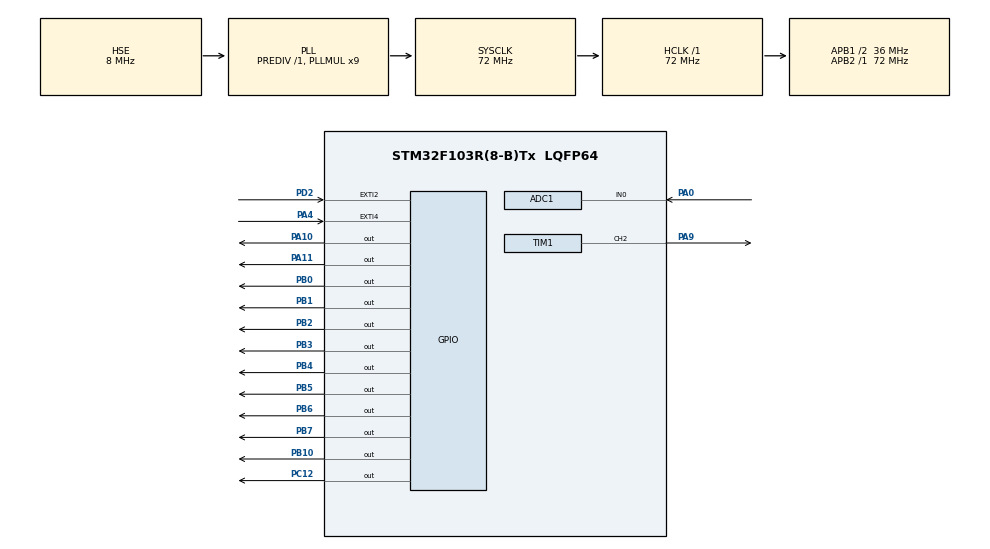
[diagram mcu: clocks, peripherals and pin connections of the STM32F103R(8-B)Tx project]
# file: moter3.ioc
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ADC1.Channel-0\#ChannelRegularConversion=ADC_CHANNEL_0
ADC1.ContinuousConvMode=ENABLE
ADC1.NbrOfConversionFlag=1
ADC1.Rank-0\#ChannelRegularConversion=1
ADC1.SamplingTime-0\#ChannelRegularConversion=ADC_SAMPLETIME_13CYCLES_5
ADC1.master=1
Mcu.Family=STM32F1
Mcu.Name=STM32F103R(8-B)Tx
Mcu.Package=LQFP64
NVIC.EXTI2_IRQn=true\:0\:0\:false\:false\:true\:true\:true\:true
NVIC.EXTI4_IRQn=true\:0\:0\:false\:false\:true\:true\:true\:true
NVIC.PriorityGroup=NVIC_PRIORITYGROUP_4
PA0-WKUP.Signal=ADCx_IN0
PA10.Signal=GPIO_Output
PA11.Signal=GPIO_Output
PA13.Mode=Serial_Wire
PA13.Signal=SYS_JTMS-SWDIO
PA14.Mode=Serial_Wire
PA14.Signal=SYS_JTCK-SWCLK
PA4.GPIO_ModeDefaultEXTI=GPIO_MODE_IT_FALLING
PA4.Signal=GPXTI4
PA9.Signal=S_TIM1_CH2
PB0.Signal=GPIO_Output
PB1.Signal=GPIO_Output
PB10.Signal=GPIO_Output
PB2.Signal=GPIO_Output
PB3.Signal=GPIO_Output
PB4.Signal=GPIO_Output
PB5.Signal=GPIO_Output
PB6.Signal=GPIO_Output
PB7.Signal=GPIO_Output
PC12.Signal=GPIO_Output
PC14-OSC32_IN.Mode=LSE-External-Oscillator
PC14-OSC32_IN.Signal=RCC_OSC32_IN
PC15-OSC32_OUT.Mode=LSE-External-Oscillator
PC15-OSC32_OUT.Signal=RCC_OSC32_OUT
PD0-OSC_IN.Mode=HSE-External-Clock-Source
PD0-OSC_IN.Signal=RCC_OSC_IN
PD1-OSC_OUT.Mode=HSE-External-Clock-Source
PD1-OSC_OUT.Signal=RCC_OSC_OUT
PD2.GPIO_ModeDefaultEXTI=GPIO_MODE_IT_FALLING
PD2.Signal=GPXTI2
ProjectManager.HeapSize=0x200
ProjectManager.StackSize=0x400
ProjectManager.TargetToolchain=STM32CubeIDE
RCC.ADCPresc=RCC_ADCPCLK2_DIV6
RCC.AHBFreq_Value=72000000
RCC.APB1CLKDivider=RCC_HCLK_DIV2
RCC.APB1Freq_Value=36000000
RCC.APB1TimFreq_Value=72000000
RCC.APB2Freq_Value=72000000
RCC.APB2TimFreq_Value=72000000
RCC.HCLKFreq_Value=72000000
RCC.PLLMUL=RCC_PLL_MUL9
RCC.PLLSourceVirtual=RCC_PLLSOURCE_HSE
RCC.SYSCLKFreq_VALUE=72000000
RCC.SYSCLKSource=RCC_SYSCLKSOURCE_PLLCLK
RCC.USBFreq_Value=72000000
SH.ADCx_IN0.0=ADC1_IN0,IN0
SH.S_TIM1_CH2.0=TIM1_CH2,PWM Generation2 CH2
TIM1.AutoReloadPreload=TIM_AUTORELOAD_PRELOAD_ENABLE
TIM1.Channel-PWM\ Generation2\ CH2=TIM_CHANNEL_2
TIM1.Period=1000-1
TIM1.Prescaler=72-1
VP_TIM1_VS_ClockSourceINT.Mode=Internal
board=custom

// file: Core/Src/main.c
/* USER CODE BEGIN Header */
/**
  ******************************************************************************
  * @file           : main.c
  * @brief          : Main program body
  ******************************************************************************
  * @attention
  *
  * Copyright (c) 2023 STMicroelectronics.
  * All rights reserved.
  *
  * This software is licensed under terms that can be found in the LICENSE file
  * in the root directory of this software component.
  * If no LICENSE file comes with this software, it is provided AS-IS.
  *
  ******************************************************************************
  */
/* USER CODE END Header */
#include "main.h"

/* USER CODE BEGIN PD */
#define SW_CW 1
#define SW_CCW 2
#define STOP 0
/* USER CODE END PD */

ADC_HandleTypeDef hadc1;

TIM_HandleTypeDef htim1;

/* USER CODE BEGIN PV */
uint8_t number[] = {0x3f, 0x06, 0x5b, 0x4f, 0x66,
        0x6d, 0x7d, 0x07, 0x7f, 0x67};
uint16_t motor_ccr2;
uint16_t adc_value;
uint8_t motor_state = STOP;
uint8_t CW_COUNTER;
uint8_t CCW_COUNTER;

/* USER CODE END PV */

void SystemClock_Config(void);
static void MX_GPIO_Init(void);
static void MX_ADC1_Init(void);
static void MX_TIM1_Init(void);

/* USER CODE BEGIN 0 */
typedef struct fnd { 	// 구조체
  GPIO_TypeDef *port;
  uint16_t pin;
} FND;
FND value[8] = {
  {GPIOB, GPIO_PIN_0}, {GPIOB, GPIO_PIN_1},
  {GPIOB, GPIO_PIN_2}, {GPIOB, GPIO_PIN_3},
  {GPIOB, GPIO_PIN_4}, {GPIOB, GPIO_PIN_5},
  {GPIOB, GPIO_PIN_6}, {GPIOB, GPIO_PIN_7}
};
FND sel[4] = {
  {GPIOA, GPIO_PIN_10}, {GPIOA, GPIO_PIN_11},
  {GPIOC, GPIO_PIN_4}, {GPIOC, GPIO_PIN_3}
};
void display_fnd(uint8_t data, uint8_t position, uint32_t time) {  // 함수
	  int i;
	  for (i = 0; i < 4; i++) {
	    if(i == position)
	      HAL_GPIO_WritePin(sel[i].port, sel[i].pin, 1);
	    else
	      HAL_GPIO_WritePin(sel[i].port, sel[i].pin, 0);
	  }
	  for(i = 0; i < 8; i++) {
	    if((data & (1 << i)) != 0)
	      HAL_GPIO_WritePin(value[i].port, value[i].pin, 1);
	    else
	      HAL_GPIO_WritePin(value[i].port, value[i].pin, 0);
	  }
	  HAL_Delay(time);
	}

/* USER CODE END 0 */

int main(void)
{

  /* MCU Configuration--------------------------------------------------------*/

  /* Reset of all peripherals, Initializes the Flash interface and the Systick. */
  HAL_Init();

  /* Configure the system clock */
  SystemClock_Config();

  /* Initialize all configured peripherals */
  MX_GPIO_Init();
  MX_ADC1_Init();
  MX_TIM1_Init();
  /* USER CODE BEGIN 2 */
  HAL_ADCEx_Calibration_Start(&hadc1);
  HAL_ADC_Start(&hadc1);

  /* USER CODE END 2 */

  /* Infinite loop */
  while (1)
  {

    /* USER CODE BEGIN 3 */
	  if(HAL_ADC_PollForConversion(&hadc1, 10) == HAL_OK){
		  adc_value = HAL_ADC_GetValue(&hadc1);
		  if(adc_value <= 1500){
			  motor_state = STOP;
			  motor_ccr2 = 0;
		  }
	  }
	  switch(motor_state){
	  case STOP:
		  HAL_TIM_PWM_Stop(&htim1, TIM_CHANNEL_2);
		  CW_COUNTER = 0;
		  CCW_COUNTER = 0;
		  __HAL_TIM_SET_COMPARE(&htim1, TIM_CHANNEL_2, 0);
		  break;
	  case SW_CCW:
		  CW_COUNTER = 0;
		  HAL_TIM_PWM_Start(&htim1, TIM_CHANNEL_2);

		  if(CCW_COUNTER > 5){CCW_COUNTER = 5;}
		  motor_ccr2 = 100*CCW_COUNTER;

		  __HAL_TIM_SET_COMPARE(&htim1, TIM_CHANNEL_2, motor_ccr2);

		  HAL_GPIO_WritePin(GPIOB, GPIO_PIN_10, 0);
		  HAL_GPIO_WritePin(GPIOC, GPIO_PIN_12, 1);
		  break;
	  case SW_CW:
		  CCW_COUNTER = 0;
		  HAL_TIM_PWM_Start(&htim1, TIM_CHANNEL_2);
		  if(CW_COUNTER > 5){CW_COUNTER =10;}

		  motor_ccr2 = 100*CW_COUNTER;

		  __HAL_TIM_SET_COMPARE(&htim1, TIM_CHANNEL_2, motor_ccr2);

		  HAL_GPIO_WritePin(GPIOB, GPIO_PIN_10, 1);
		  HAL_GPIO_WritePin(GPIOC, GPIO_PIN_12, 0);
		  break;
	  default:
		  break;
	  }
	  display_fnd(number[motor_ccr2/100], 1, 5);
	  display_fnd(number[0], 0, 5);

  }
  /* USER CODE END 3 */
}

void SystemClock_Config(void)
{
  RCC_OscInitTypeDef RCC_OscInitStruct = {0};
  RCC_ClkInitTypeDef RCC_ClkInitStruct = {0};
  RCC_PeriphCLKInitTypeDef PeriphClkInit = {0};

  /** Initializes the RCC Oscillators according to the specified parameters
  * in the RCC_OscInitTypeDef structure.
  */
  RCC_OscInitStruct.OscillatorType = RCC_OSCILLATORTYPE_HSE;
  RCC_OscInitStruct.HSEState = RCC_HSE_BYPASS;
  RCC_OscInitStruct.HSEPredivValue = RCC_HSE_PREDIV_DIV1;
  RCC_OscInitStruct.HSIState = RCC_HSI_ON;
  RCC_OscInitStruct.PLL.PLLState = RCC_PLL_ON;
  RCC_OscInitStruct.PLL.PLLSource = RCC_PLLSOURCE_HSE;
  RCC_OscInitStruct.PLL.PLLMUL = RCC_PLL_MUL9;
  if (HAL_RCC_OscConfig(&RCC_OscInitStruct) != HAL_OK)
  {
    Error_Handler();
  }

  /** Initializes the CPU, AHB and APB buses clocks
  */
  RCC_ClkInitStruct.ClockType = RCC_CLOCKTYPE_HCLK|RCC_CLOCKTYPE_SYSCLK
                              |RCC_CLOCKTYPE_PCLK1|RCC_CLOCKTYPE_PCLK2;
  RCC_ClkInitStruct.SYSCLKSource = RCC_SYSCLKSOURCE_PLLCLK;
  RCC_ClkInitStruct.AHBCLKDivider = RCC_SYSCLK_DIV1;
  RCC_ClkInitStruct.APB1CLKDivider = RCC_HCLK_DIV2;
  RCC_ClkInitStruct.APB2CLKDivider = RCC_HCLK_DIV1;

  if (HAL_RCC_ClockConfig(&RCC_ClkInitStruct, FLASH_LATENCY_2) != HAL_OK)
  {
    Error_Handler();
  }
  PeriphClkInit.PeriphClockSelection = RCC_PERIPHCLK_ADC;
  PeriphClkInit.AdcClockSelection = RCC_ADCPCLK2_DIV6;
  if (HAL_RCCEx_PeriphCLKConfig(&PeriphClkInit) != HAL_OK)
  {
    Error_Handler();
  }
}

static void MX_ADC1_Init(void)
{

  ADC_ChannelConfTypeDef sConfig = {0};

  /** Common config
  */
  hadc1.Instance = ADC1;
  hadc1.Init.ScanConvMode = ADC_SCAN_DISABLE;
  hadc1.Init.ContinuousConvMode = ENABLE;
  hadc1.Init.DiscontinuousConvMode = DISABLE;
  hadc1.Init.ExternalTrigConv = ADC_SOFTWARE_START;
  hadc1.Init.DataAlign = ADC_DATAALIGN_RIGHT;
  hadc1.Init.NbrOfConversion = 1;
  if (HAL_ADC_Init(&hadc1) != HAL_OK)
  {
    Error_Handler();
  }

  /** Configure Regular Channel
  */
  sConfig.Channel = ADC_CHANNEL_0;
  sConfig.Rank = ADC_REGULAR_RANK_1;
  sConfig.SamplingTime = ADC_SAMPLETIME_13CYCLES_5;
  if (HAL_ADC_ConfigChannel(&hadc1, &sConfig) != HAL_OK)
  {
    Error_Handler();
  }

}

static void MX_TIM1_Init(void)
{

  TIM_ClockConfigTypeDef sClockSourceConfig = {0};
  TIM_MasterConfigTypeDef sMasterConfig = {0};
  TIM_OC_InitTypeDef sConfigOC = {0};
  TIM_BreakDeadTimeConfigTypeDef sBreakDeadTimeConfig = {0};

  htim1.Instance = TIM1;
  htim1.Init.Prescaler = 72-1;
  htim1.Init.CounterMode = TIM_COUNTERMODE_UP;
  htim1.Init.Period = 1000-1;
  htim1.Init.ClockDivision = TIM_CLOCKDIVISION_DIV1;
  htim1.Init.RepetitionCounter = 0;
  htim1.Init.AutoReloadPreload = TIM_AUTORELOAD_PRELOAD_ENABLE;
  if (HAL_TIM_Base_Init(&htim1) != HAL_OK)
  {
    Error_Handler();
  }
  sClockSourceConfig.ClockSource = TIM_CLOCKSOURCE_INTERNAL;
  if (HAL_TIM_ConfigClockSource(&htim1, &sClockSourceConfig) != HAL_OK)
  {
    Error_Handler();
  }
  if (HAL_TIM_PWM_Init(&htim1) != HAL_OK)
  {
    Error_Handler();
  }
  sMasterConfig.MasterOutputTrigger = TIM_TRGO_RESET;
  sMasterConfig.MasterSlaveMode = TIM_MASTERSLAVEMODE_DISABLE;
  if (HAL_TIMEx_MasterConfigSynchronization(&htim1, &sMasterConfig) != HAL_OK)
  {
    Error_Handler();
  }
  sConfigOC.OCMode = TIM_OCMODE_PWM1;
  sConfigOC.Pulse = 0;
  sConfigOC.OCPolarity = TIM_OCPOLARITY_HIGH;
  sConfigOC.OCNPolarity = TIM_OCNPOLARITY_HIGH;
  sConfigOC.OCFastMode = TIM_OCFAST_DISABLE;
  sConfigOC.OCIdleState = TIM_OCIDLESTATE_RESET;
  sConfigOC.OCNIdleState = TIM_OCNIDLESTATE_RESET;
  if (HAL_TIM_PWM_ConfigChannel(&htim1, &sConfigOC, TIM_CHANNEL_2) != HAL_OK)
  {
    Error_Handler();
  }
  sBreakDeadTimeConfig.OffStateRunMode = TIM_OSSR_DISABLE;
  sBreakDeadTimeConfig.OffStateIDLEMode = TIM_OSSI_DISABLE;
  sBreakDeadTimeConfig.LockLevel = TIM_LOCKLEVEL_OFF;
  sBreakDeadTimeConfig.DeadTime = 0;
  sBreakDeadTimeConfig.BreakState = TIM_BREAK_DISABLE;
  sBreakDeadTimeConfig.BreakPolarity = TIM_BREAKPOLARITY_HIGH;
  sBreakDeadTimeConfig.AutomaticOutput = TIM_AUTOMATICOUTPUT_DISABLE;
  if (HAL_TIMEx_ConfigBreakDeadTime(&htim1, &sBreakDeadTimeConfig) != HAL_OK)
  {
    Error_Handler();
  }
  HAL_TIM_MspPostInit(&htim1);

}

static void MX_GPIO_Init(void)
{
  GPIO_InitTypeDef GPIO_InitStruct = {0};

  /* GPIO Ports Clock Enable */
  __HAL_RCC_GPIOC_CLK_ENABLE();
  __HAL_RCC_GPIOD_CLK_ENABLE();
  __HAL_RCC_GPIOA_CLK_ENABLE();
  __HAL_RCC_GPIOB_CLK_ENABLE();

  /*Configure GPIO pin Output Level */
  HAL_GPIO_WritePin(GPIOB, GPIO_PIN_0|GPIO_PIN_1|GPIO_PIN_2|GPIO_PIN_10
                          |GPIO_PIN_3|GPIO_PIN_4|GPIO_PIN_5|GPIO_PIN_6
                          |GPIO_PIN_7, GPIO_PIN_RESET);

  /*Configure GPIO pin Output Level */
  HAL_GPIO_WritePin(GPIOA, GPIO_PIN_10|GPIO_PIN_11, GPIO_PIN_RESET);

  /*Configure GPIO pin Output Level */
  HAL_GPIO_WritePin(GPIOC, GPIO_PIN_12, GPIO_PIN_RESET);

  /*Configure GPIO pin : PA4 */
  GPIO_InitStruct.Pin = GPIO_PIN_4;
  GPIO_InitStruct.Mode = GPIO_MODE_IT_FALLING;
  GPIO_InitStruct.Pull = GPIO_NOPULL;
  HAL_GPIO_Init(GPIOA, &GPIO_InitStruct);

  /*Configure GPIO pins : PB0 PB1 PB2 PB10
                           PB3 PB4 PB5 PB6
                           PB7 */
  GPIO_InitStruct.Pin = GPIO_PIN_0|GPIO_PIN_1|GPIO_PIN_2|GPIO_PIN_10
                          |GPIO_PIN_3|GPIO_PIN_4|GPIO_PIN_5|GPIO_PIN_6
                          |GPIO_PIN_7;
  GPIO_InitStruct.Mode = GPIO_MODE_OUTPUT_PP;
  GPIO_InitStruct.Pull = GPIO_NOPULL;
  GPIO_InitStruct.Speed = GPIO_SPEED_FREQ_LOW;
  HAL_GPIO_Init(GPIOB, &GPIO_InitStruct);

  /*Configure GPIO pins : PA10 PA11 */
  GPIO_InitStruct.Pin = GPIO_PIN_10|GPIO_PIN_11;
  GPIO_InitStruct.Mode = GPIO_MODE_OUTPUT_PP;
  GPIO_InitStruct.Pull = GPIO_NOPULL;
  GPIO_InitStruct.Speed = GPIO_SPEED_FREQ_LOW;
  HAL_GPIO_Init(GPIOA, &GPIO_InitStruct);

  /*Configure GPIO pin : PC12 */
  GPIO_InitStruct.Pin = GPIO_PIN_12;
  GPIO_InitStruct.Mode = GPIO_MODE_OUTPUT_PP;
  GPIO_InitStruct.Pull = GPIO_NOPULL;
  GPIO_InitStruct.Speed = GPIO_SPEED_FREQ_LOW;
  HAL_GPIO_Init(GPIOC, &GPIO_InitStruct);

  /*Configure GPIO pin : PD2 */
  GPIO_InitStruct.Pin = GPIO_PIN_2;
  GPIO_InitStruct.Mode = GPIO_MODE_IT_FALLING;
  GPIO_InitStruct.Pull = GPIO_NOPULL;
  HAL_GPIO_Init(GPIOD, &GPIO_InitStruct);

  /* EXTI interrupt init*/
  HAL_NVIC_SetPriority(EXTI2_IRQn, 0, 0);
  HAL_NVIC_EnableIRQ(EXTI2_IRQn);

  HAL_NVIC_SetPriority(EXTI4_IRQn, 0, 0);
  HAL_NVIC_EnableIRQ(EXTI4_IRQn);

}

/* USER CODE BEGIN 4 */
void HAL_GPIO_EXTI_Callback(uint16_t GPIO_pin){
	if(!HAL_GPIO_ReadPin(GPIOD, GPIO_PIN_2)){
		motor_state = SW_CW;
		++CW_COUNTER;
	}
	if(!HAL_GPIO_ReadPin(GPIOA, GPIO_PIN_4)){
		motor_state = SW_CCW;
		++CCW_COUNTER;
	}
}
/* USER CODE END 4 */

void Error_Handler(void)
{
  __disable_irq();
  while (1)
  {
  }
}
